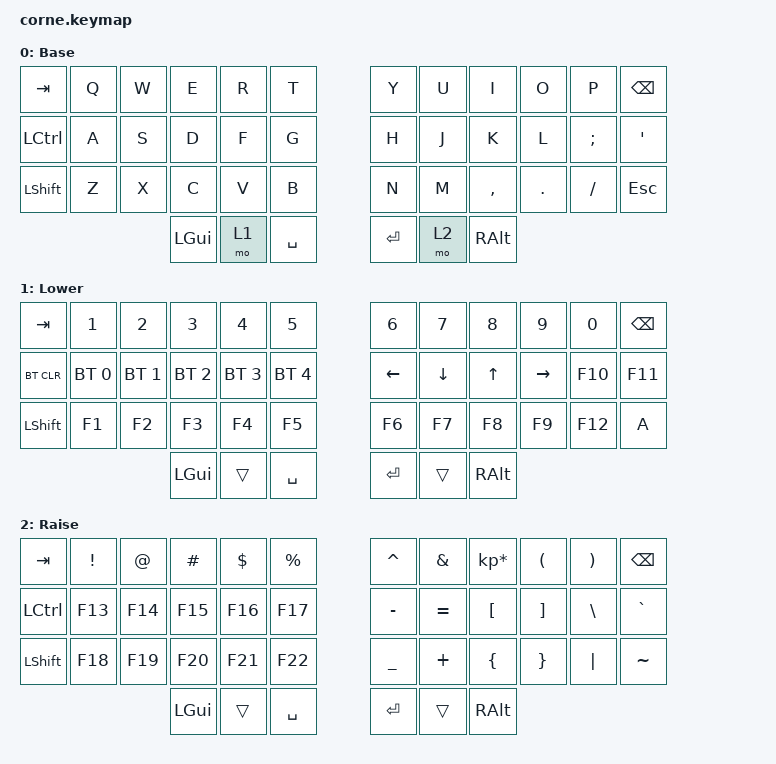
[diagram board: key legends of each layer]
/*
 * Copyright (c) 2020 The ZMK Contributors
 *
 * SPDX-License-Identifier: MIT
 */

#include <behaviors.dtsi>
#include <dt-bindings/zmk/bt.h>
#include <dt-bindings/zmk/keys.h>

/ {
    macros {
        new_macro: new_macro {
            compatible = "zmk,behavior-macro";
            #binding-cells = <0>;
            bindings = <&kp RCTRL &kp LEFT_ALT &kp A>;
            label = "NEW_MACRO";
        };

        new_macro1: new_macro1 {
            compatible = "zmk,behavior-macro";
            #binding-cells = <0>;
            bindings = <&kp RCTRL &kp LEFT_ALT &kp RIGHT_BRACKET>;
            label = "NEW_MACRO1";
        };
    };

    keymap {
        compatible = "zmk,keymap";

        default_layer {
            // -----------------------------------------------------------------------------------------
            // |  TAB |  Q  |  W  |  E  |  R  |  T  |   |  Y  |  U   |  I  |  O  |  P  | BKSP |
            // | CTRL |  A  |  S  |  D  |  F  |  G  |   |  H  |  J   |  K  |  L  |  ;  |  '   |
            // | SHFT |  Z  |  X  |  C  |  V  |  B  |   |  N  |  M   |  ,  |  .  |  /  | ESC  |
            //                    | GUI | LWR | SPC |   | ENT | RSE  | ALT |

            display-name = "Base";
            bindings = <
&kp TAB    &kp Q  &kp W  &kp E     &kp R  &kp T        &kp Y    &kp U  &kp I      &kp O    &kp P     &kp BSPC
&kp LCTRL  &kp A  &kp S  &kp D     &kp F  &kp G        &kp H    &kp J  &kp K      &kp L    &kp SEMI  &kp SQT
&kp LSHFT  &kp Z  &kp X  &kp C     &kp V  &kp B        &kp N    &kp M  &kp COMMA  &kp DOT  &kp FSLH  &kp ESC
                         &kp LGUI  &mo 1  &kp SPACE    &kp RET  &mo 2  &kp RALT
            >;
        };

        lower_layer {
            // -----------------------------------------------------------------------------------------
            // |  TAB |  1  |  2  |  3  |  4  |  5  |   |  6  |  7  |  8  |  9  |  0  | BKSP |
            // | BTCLR| BT1 | BT2 | BT3 | BT4 | BT5 |   | LFT | DWN |  UP | RGT |     |      |
            // | SHFT |     |     |     |     |     |   |     |     |     |     |     |      |
            //                    | GUI |     | SPC |   | ENT |     | ALT |

            display-name = "Lower";
            bindings = <
&kp TAB     &kp N1        &kp N2        &kp N3        &kp N4        &kp N5          &kp N6    &kp N7    &kp N8    &kp N9     &kp N0   &kp BSPC
&bt BT_CLR  &bt BT_SEL 0  &bt BT_SEL 1  &bt BT_SEL 2  &bt BT_SEL 3  &bt BT_SEL 4    &kp LEFT  &kp DOWN  &kp UP    &kp RIGHT  &kp F10  &kp F11
&kp LSHFT   &kp F1        &kp F2        &kp F3        &kp F4        &kp F5          &kp F6    &kp F7    &kp F8    &kp F9     &kp F12  &kp A
                                        &kp LGUI      &trans        &kp SPACE       &kp RET   &trans    &kp RALT
            >;
        };

        raise_layer {
            // -----------------------------------------------------------------------------------------
            // |  TAB |  !  |  @  |  #  |  $  |  %  |   |  ^  |  &  |  *  |  (  |  )  | BKSP |
            // | CTRL |     |     |     |     |     |   |  -  |  =  |  [  |  ]  |  \  |  `   |
            // | SHFT |     |     |     |     |     |   |  _  |  +  |  {  |  }  | "|" |  ~   |
            //                    | GUI |     | SPC |   | ENT |     | ALT |

            display-name = "Raise";
            bindings = <
&kp TAB    &kp EXCL  &kp AT   &kp HASH  &kp DLLR  &kp PRCNT    &kp CARET  &kp AMPS   &kp KP_MULTIPLY  &kp LPAR  &kp RPAR  &kp BSPC
&kp LCTRL  &kp F13   &kp F14  &kp F15   &kp F16   &kp F17      &kp MINUS  &kp EQUAL  &kp LBKT         &kp RBKT  &kp BSLH  &kp GRAVE
&kp LSHFT  &kp F18   &kp F19  &kp F20   &kp F21   &kp F22      &kp UNDER  &kp PLUS   &kp LBRC         &kp RBRC  &kp PIPE  &kp TILDE
                              &kp LGUI  &trans    &kp SPACE    &kp RET    &trans     &kp RALT
            >;
        };

        extra_1 { status = "reserved"; };

        extra_2 { status = "reserved"; };

        extra_3 { status = "reserved"; };
    };
};
